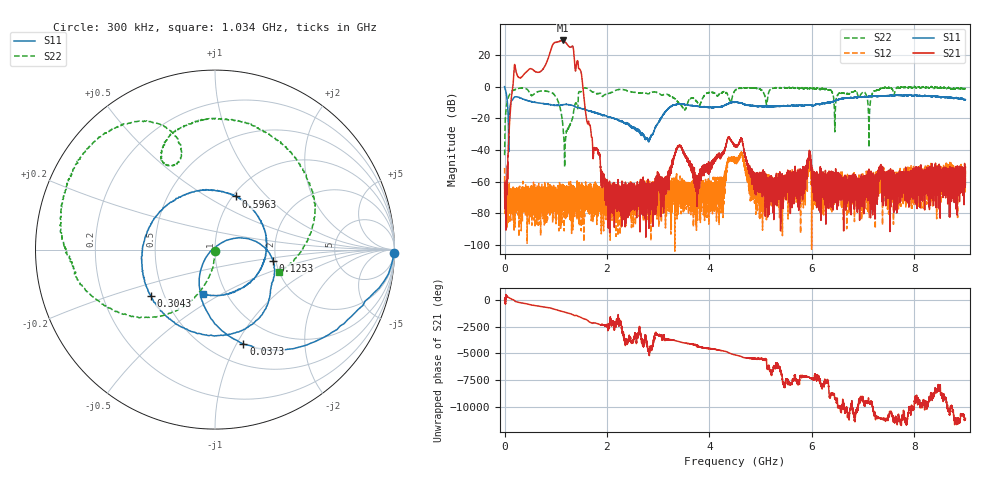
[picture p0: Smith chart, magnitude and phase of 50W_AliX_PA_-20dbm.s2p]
# Hz S DB R 50
! CMT, SC5090, 24087134, 25.3.3/4
! Date: 15.11.2025 14:30:15
! Data: Format (Calibration Info)
! Freq	S11:dB/Ang(F2)	S21:dB/Ang(F2)	S12:dB/Ang(F2)	S22:dB/Ang(F2)
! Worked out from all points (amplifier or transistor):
!   9001 points, 300 kHz to 9 GHz, reference 50 ohm
!   highest |S21| = 29.2 dB at 1.144 GHz (marker M1)
!   |S21| within 3 dB of that: 935.4 MHz to 1.236 GHz (300.2 MHz wide, 27.7 % of centre)
!   unconditionally stable (mu >= 1): start of sweep to 7.993 GHz; 8.009 GHz to 8.171 GHz; 8.431 GHz to end of sweep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
!   at 1.5 GHz: K = 233.77, MAG = 11.5 dB, |S12| = -68.3 dB
!   at 4.5 GHz: K = 3718.85, MAG = -33.0 dB, |S12| = -48.6 dB
!   at 9 GHz: K = 40012.04, MAG = -55.0 dB, |S12| = -50.1 dB
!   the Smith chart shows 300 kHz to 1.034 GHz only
!   S11 on the Smith chart (normalised r, x): 300 kHz: open; 37.3 MHz: 0.71, -1.07; 125.3 MHz: 1.94, -0.28; 304.3 MHz: 0.42, -0.27; 596.3 MHz: 1.03, +0.68; 1.034 GHz: 0.78, -0.42
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300000  -0.01 -1.0  -60.42 -28.0  -51.38 -6.5  -43.34 -112.6
3.729877e7  -5.20 -73.2  -65.63 -12.0  -66.90 -63.9  -12.06 -110.1
1.252958e8  -9.60 -11.1  -9.56 95.3  -72.31 -33.9  -3.61 -149.3
3.042899e8  -7.11 -144.4  5.61 95.1  -67.83 45.7  -0.97 158.0
5.962801e8  -9.95 68.7  9.58 169.7  -67.67 -50.0  -4.16 118.6
8.672711e8  -11.23 -27.7  19.36 -20.6  -68.32 13.3  -3.24 54.4
9.31269e8  -11.61 -52.3  25.86 -99.5  -68.97 -25.5  -3.99 31.0
9.862671e8  -11.77 -76.9  27.93 174.2  -65.01 -115.4  -5.74 5.3
1.034266e9  -11.81 -104.6  28.28 109.6  -73.62 -36.8  -8.47 -19.5
1.099263e9  -11.63 -152.5  29.01 26.9  -72.72 65.8  -15.62 -59.8
1.144262e9  -11.40 167.2  29.18 -33.3  -69.69 -63.0  -26.92 -95.2
1.18926e9  -11.23 124.7  28.03 -95.1  -83.35 87.0  -33.18 64.0
1.243259e9  -11.46 80.8  25.83 -165.8  -73.66 50.6  -26.34 34.8
1.296257e9  -11.61 47.0  24.94 122.4  -65.47 -115.7  -22.86 -22.8
1.359255e9  -12.41 14.7  18.78 -28.1  -77.36 33.6  -13.34 -80.8
1.396253e9  -13.03 3.0  12.43 -14.1  -68.36 -82.4  -10.24 -132.3
1.50025e9  -13.85 -26.7  8.20 124.5  -68.26 112.8  -2.88 -178.1
3.0002e9  -22.97 -102.7  -55.85 -86.5  -64.32 -42.3  -3.98 -48.3
4.50015e9  -9.73 5.3  -37.21 -114.8  -48.60 52.5  -2.41 -110.5
6.0001e9  -12.00 -69.3  -51.21 160.7  -61.66 -177.9  -1.23 27.8
7.50005e9  -5.69 -155.7  -66.58 -56.8  -58.11 -59.0  -0.52 -98.2
9e9  -8.33 113.5  -61.99 56.3  -50.10 -16.0  -1.15 151.6
